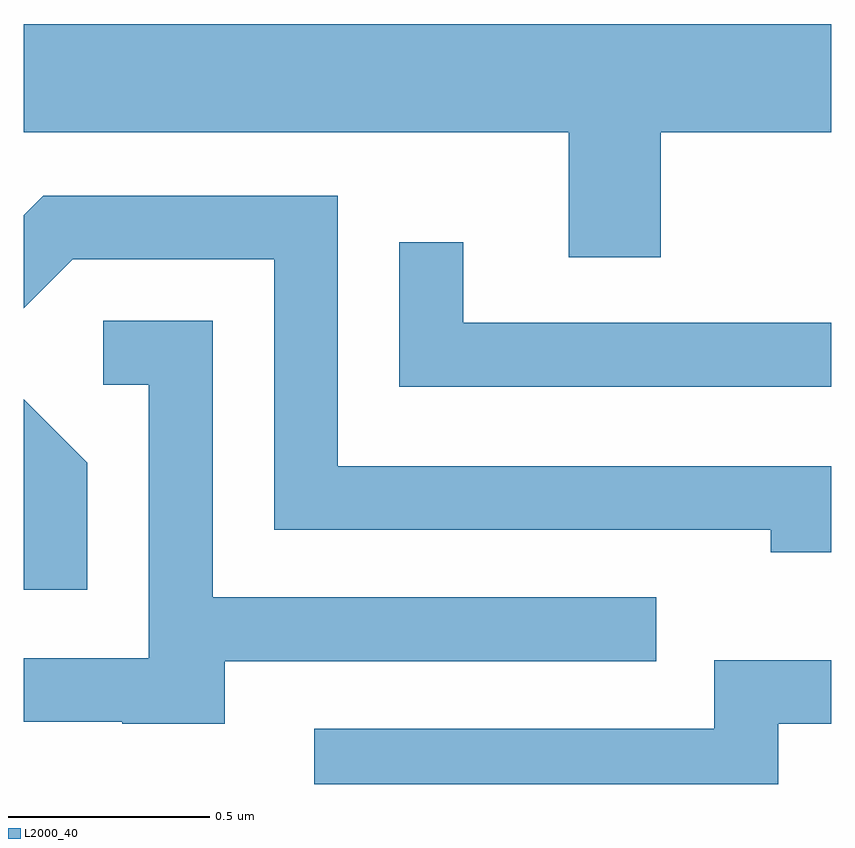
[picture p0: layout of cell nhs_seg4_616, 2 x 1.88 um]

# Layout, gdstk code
import gdstk
lib = gdstk.Library(unit=1e-6, precision=1e-09)
def P(c, l, *ps):  # polygons
    for p in ps: c.add(gdstk.Polygon(p, *l))
L2000_40 = (2000, 40)

nhs_seg4_616 = lib.new_cell('nhs_seg4_616')
P(nhs_seg4_616, L2000_40, [(191.189,1323.596),(191.611,1323.596),(191.611,1323.864),(189.611,1323.864),(189.611,1323.596),(190.961,1323.596),(190.961,1323.286),(191.189,1323.286)],
  [(191.611,1322.769),(190.389,1322.769),(190.389,1323.439),(189.659,1323.439),(189.611,1323.391),(189.611,1323.16),(189.732,1323.281),(190.231,1323.281),(190.231,1322.611),(191.461,1322.611),(191.461,1322.556),(191.611,1322.556)],
  [(191.611,1323.124),(190.699,1323.124),(190.699,1323.323),(190.541,1323.323),(190.541,1322.966),(191.611,1322.966)],
  [(190.109,1322.286),(191.178,1322.286),(191.178,1322.444),(190.079,1322.444),(190.079,1323.129),(189.808,1323.129),(189.808,1322.971),(189.921,1322.971),(189.921,1322.294),(189.611,1322.294),(189.611,1322.136),(189.855,1322.136),(189.855,1322.131),(190.109,1322.131)],
  [(189.769,1322.777),(189.611,1322.935),(189.611,1322.463),(189.769,1322.463)],
  [(191.479,1322.131),(191.611,1322.131),(191.611,1322.289),(191.321,1322.289),(191.321,1322.119),(190.331,1322.119),(190.331,1321.982),(191.479,1321.982)])

lib.write_gds('nhs_seg4_616.gds')
